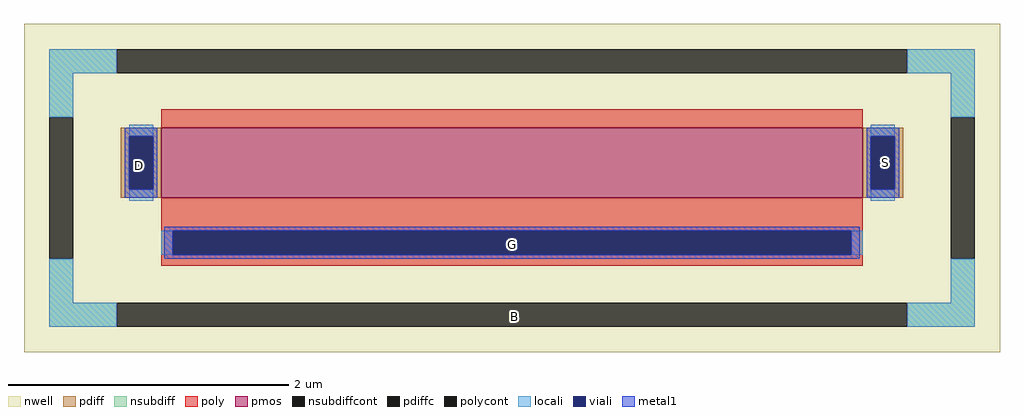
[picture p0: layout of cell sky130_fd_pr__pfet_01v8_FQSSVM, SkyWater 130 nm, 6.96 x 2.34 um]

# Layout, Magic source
magic
tech sky130A
magscale 1 2
<< nwell >>
rect -696 -234 696 234
<< pmos >>
rect -500 -14 500 86
<< pdiff >>
rect -558 74 -500 86
rect -558 -2 -546 74
rect -512 -2 -500 74
rect -558 -14 -500 -2
rect 500 74 558 86
rect 500 -2 512 74
rect 546 -2 558 74
rect 500 -14 558 -2
<< pdiffc >>
rect -546 -2 -512 74
rect 512 -2 546 74
<< nsubdiff >>
rect -660 164 -564 198
rect 564 164 660 198
rect -660 101 -626 164
rect 626 101 660 164
rect -660 -164 -626 -101
rect 626 -164 660 -101
rect -660 -198 -564 -164
rect 564 -198 660 -164
<< nsubdiffcont >>
rect -564 164 564 198
rect -660 -101 -626 101
rect 626 -101 660 101
rect -564 -198 564 -164
<< poly >>
rect -500 86 500 112
rect -500 -61 500 -14
rect -500 -95 -484 -61
rect 484 -95 500 -61
rect -500 -111 500 -95
<< polycont >>
rect -484 -95 484 -61
<< locali >>
rect -660 164 -564 198
rect 564 164 660 198
rect -660 101 -626 164
rect 626 101 660 164
rect -546 74 -512 90
rect -546 -18 -512 -2
rect 512 74 546 90
rect 512 -18 546 -2
rect -500 -95 -484 -61
rect 484 -95 500 -61
rect -660 -164 -626 -101
rect 626 -164 660 -101
rect -660 -198 -564 -164
rect 564 -198 660 -164
<< viali >>
rect -546 -2 -512 74
rect 512 -2 546 74
rect -484 -95 484 -61
<< metal1 >>
rect -552 74 -506 86
rect -552 -2 -546 74
rect -512 -2 -506 74
rect -552 -14 -506 -2
rect 506 74 552 86
rect 506 -2 512 74
rect 546 -2 552 74
rect 506 -14 552 -2
rect -496 -61 496 -55
rect -496 -95 -484 -61
rect 484 -95 496 -61
rect -496 -101 496 -95
<< labels >>
flabel metal1 s -531 32 -531 32 0 FreeSans 480 0 0 0 D
port 12 nsew
flabel metal1 s 533 36 533 36 0 FreeSans 480 0 0 0 S
port 13 nsew
flabel metal1 s 0 -81 0 -81 0 FreeSans 480 0 0 0 G
port 14 nsew
flabel locali s 3 -183 3 -183 0 FreeSans 480 0 0 0 B
port 15 nsew
<< properties >>
string FIXED_BBOX -643 -181 643 181
string gencell sky130_fd_pr__pfet_01v8
string library sky130
string parameters w 0.5 l 5.0 m 1 nf 1 diffcov 100 polycov 100 guard 1 glc 1 grc 1 gtc 1 gbc 1 tbcov 100 rlcov 100 topc 0 botc 1 poverlap 0 doverlap 1 lmin 0.15 wmin 0.42 compatible {sky130_fd_pr__pfet_01v8  sky130_fd_pr__pfet_01v8_lvt sky130_fd_pr__pfet_01v8_hvt  sky130_fd_pr__pfet_g5v0d10v5} full_metal 1 viasrc 100 viadrn 100 viagate 100 viagb 0 viagr 0 viagl 0 viagt 0
<< end >>
